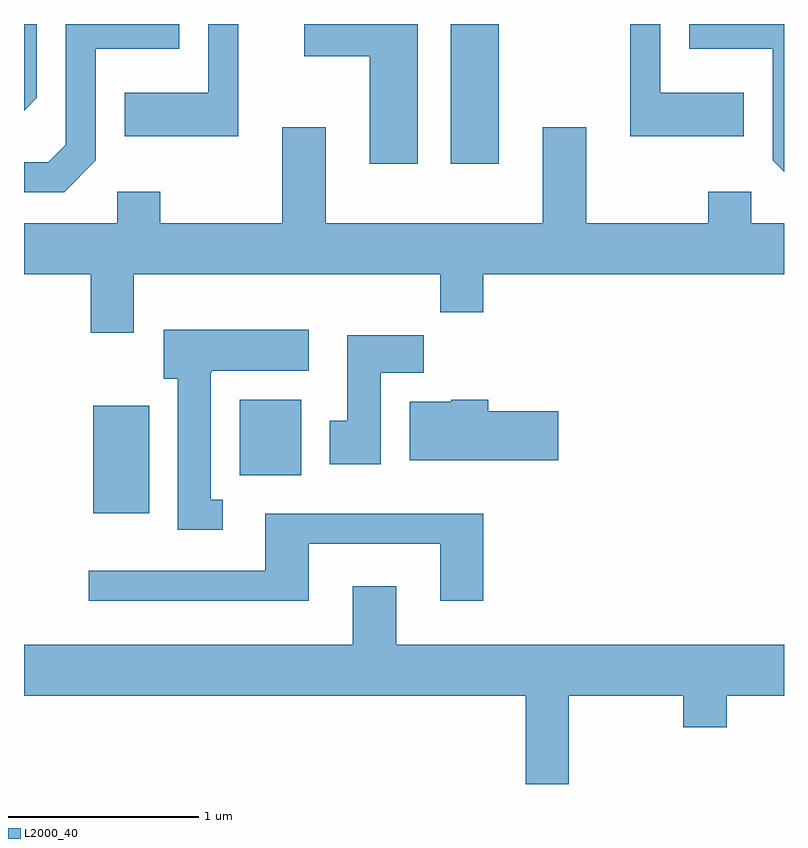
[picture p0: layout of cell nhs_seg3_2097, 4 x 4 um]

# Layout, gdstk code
import gdstk
lib = gdstk.Library(unit=1e-6, precision=1e-09)
def R(c, l, rs):  # rectangles x0, y0, x1, y1
    for r in rs: c.add(gdstk.rectangle(r[:2], r[2:], *l))
def P(c, l, *ps):  # polygons
    for p in ps: c.add(gdstk.Polygon(p, *l))
L2000_40 = (2000, 40)

nhs_seg3_2097 = lib.new_cell('nhs_seg3_2097')
R(nhs_seg3_2097, L2000_40, [(245.976,1231.316,246.269,1231.884), (246.746,1231.516,247.069,1231.914), (247.856,1233.156,248.109,1233.892)])
P(nhs_seg3_2097, L2000_40, [(247.684,1233.892),(247.086,1233.892),(247.086,1233.721),(247.431,1233.721),(247.431,1233.156),(247.684,1233.156)],
  [(245.679,1233.504),(245.679,1233.892),(245.611,1233.892),(245.611,1233.436)],
  [(245.989,1233.174),(245.989,1233.761),(246.429,1233.761),(246.429,1233.892),(245.831,1233.892),(245.831,1233.257),(245.739,1233.164),(245.611,1233.164),(245.611,1233.006),(245.822,1233.006)],
  [(246.739,1233.892),(246.581,1233.892),(246.581,1233.529),(246.141,1233.529),(246.141,1233.301),(246.739,1233.301)],
  [(249.399,1233.529),(248.959,1233.529),(248.959,1233.892),(248.801,1233.892),(248.801,1233.301),(249.399,1233.301)],
  [(249.611,1233.892),(249.111,1233.892),(249.111,1233.761),(249.551,1233.761),(249.551,1233.174),(249.611,1233.114)],
  [(246.189,1232.576),(247.801,1232.576),(247.801,1232.376),(248.029,1232.376),(248.029,1232.576),(249.611,1232.576),(249.611,1232.844),(249.439,1232.844),(249.439,1233.009),(249.211,1233.009),(249.211,1232.844),(248.569,1232.844),(248.569,1233.349),(248.341,1233.349),(248.341,1232.844),(247.199,1232.844),(247.199,1233.349),(246.971,1233.349),(246.971,1232.844),(246.329,1232.844),(246.329,1233.009),(246.101,1233.009),(246.101,1232.844),(245.611,1232.844),(245.611,1232.576),(245.961,1232.576),(245.961,1232.266),(246.189,1232.266)],
  [(246.658,1231.389),(246.594,1231.389),(246.594,1232.06),(246.6,1232.06),(246.6,1232.066),(247.109,1232.066),(247.109,1232.284),(246.346,1232.284),(246.346,1232.026),(246.421,1232.026),(246.421,1231.231),(246.658,1231.231)],
  [(247.489,1232.056),(247.714,1232.056),(247.714,1232.254),(247.311,1232.254),(247.311,1231.804),(247.221,1231.804),(247.221,1231.576),(247.489,1231.576)],
  [(248.424,1231.854),(248.054,1231.854),(248.054,1231.914),(247.86,1231.914),(247.86,1231.904),(247.641,1231.904),(247.641,1231.596),(248.424,1231.596)],
  [(247.109,1231.156),(247.801,1231.156),(247.801,1230.856),(248.029,1230.856),(248.029,1231.314),(246.881,1231.314),(246.881,1231.014),(245.953,1231.014),(245.953,1230.856),(247.109,1230.856)],
  [(247.569,1230.934),(247.341,1230.934),(247.341,1230.624),(245.611,1230.624),(245.611,1230.356),(248.251,1230.356),(248.251,1229.892),(248.479,1229.892),(248.479,1230.356),(249.081,1230.356),(249.081,1230.191),(249.309,1230.191),(249.309,1230.356),(249.611,1230.356),(249.611,1230.624),(247.569,1230.624)])

lib.write_gds('nhs_seg3_2097.gds')
